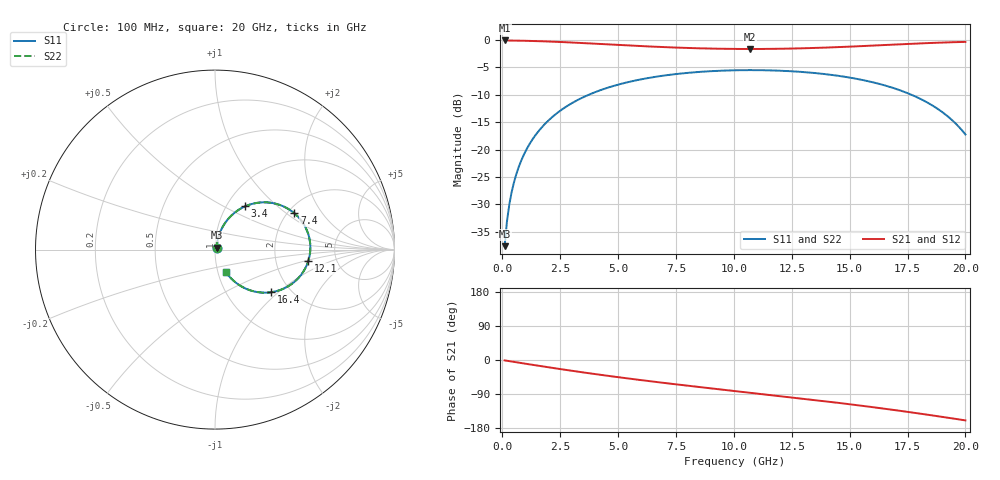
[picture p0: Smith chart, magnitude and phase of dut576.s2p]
! Touchstone file exported from HFSS 2026.1.0
!  File:  C:/ffzhzh/LocalFiles/Ansys_Project_Files/temp_train_TSV_RDL_576_1783118342_53076.aedt
!  Generated:  06:47:32 AM Jul  4, 2026
!  Design:  TSV_RDL
!  Project:  temp_train_TSV_RDL_576_1783118342_53076
! Variables:
!  h_bsmrdl = 5.04um
!  h_ox = 20um
!  h_rdl = 5um
!  h_sub = 76.14um
!  h_tmrdl = 5.03um
!  h_tsv = 76.14um
!  h_via = 3um
!  l_bsmrdl = 272.88um
!  l_sub = 2692.94um
!  l_tmrdl = 336.4um
!  m_sub = 200um
!  pitch = 59.38um
!  r_tsv = 12.11um
!  s_tmrdl = 10um
!  w_bsmrdl = 21.07um
!  w_sub = 500um
!  w_tmrdl = 21.83um
!  x_tsv_center1 = 347.315um
!  x_tsv_center2 = 641.265um
!  x_tsv_center3 = 999.495um
!  x_tsv_center4 = 1293.445um
!  x_tsv_center5 = 1651.675um
!  x_tsv_center6 = 1945.625um
# GHz S MA R 50.000000
! Terminal data exported
! Port[1] = TM_RDL1_1_T1
! Port[2] = TM_RDL5_1_T1
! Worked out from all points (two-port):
!   200 points, 100 MHz to 20 GHz, reference 50 ohm
!   highest |S21| = -0.07 dB at 100 MHz (marker M1); lowest = -1.6 dB at 10.7 GHz (marker M2)
!   |S21| within 3 dB of the highest: start of sweep to end of sweep
!   lowest |S11| = -37.7 dB at 100 MHz (marker M3), VSWR 1.03, Z = 50.8 + j1.02 ohm
!   |S11| at or under -10 dB: start of sweep to 3.729 GHz; 17.67 GHz to end of sweep
!   |S22| runs from -37.7 to -5.5 dB; largest |S21 - S12| = 5.7e-14
!   S11 on the Smith chart (normalised r, x): 100 MHz: 1.02, +0.02; 3.4 GHz: 1.22, +0.64; 7.4 GHz: 2.17, +1.15; 12.1 GHz: 3.10, -0.54; 16.4 GHz: 1.59, -0.90; 20 GHz: 1.09, -0.28
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0.1  0.01311 50.1  0.9917 -1.0  0.9917 -1.0  0.01311 50.1
! Gamma 0 0 0 0
! Port Impedance 50 0 50 0
0.2  0.02193 64.8  0.9912 -2.0  0.9912 -2.0  0.02193 64.8
0.3  0.0312 70.1  0.9905 -3.0  0.9905 -3.0  0.0312 70.1
0.4  0.0405 72.5  0.9898 -4.0  0.9898 -4.0  0.0405 72.5
0.7  0.06835 74.5  0.9875 -6.9  0.9875 -6.9  0.06835 74.6
1  0.09607 73.8  0.9847 -9.8  0.9847 -9.8  0.09607 73.8
1.4  0.1324 71.4  0.9798 -13.6  0.9798 -13.6  0.1324 71.4
2  0.1849 66.8  0.9703 -19.3  0.9703 -19.3  0.1849 66.8
3.4  0.2938 55.1  0.9407 -31.9  0.9407 -31.9  0.2938 55.1
3.5  0.3007 54.3  0.9384 -32.8  0.9384 -32.8  0.3007 54.3
5.1  0.3966 41.4  0.9006 -46.1  0.9006 -46.1  0.3966 41.4
6.8  0.4681 28.8  0.8654 -59.1  0.8654 -59.1  0.4681 28.8
7.4  0.4865 24.6  0.8553 -63.5  0.8553 -63.5  0.4865 24.6
10.1  0.53 6.3  0.8298 -82.3  0.8298 -82.3  0.53 6.3
10.7  0.5315 2.4  0.8288 -86.3  0.8288 -86.3  0.5315 2.4
12.1  0.5238 -6.9  0.8334 -95.9  0.8334 -95.9  0.5238 -6.9
13.4  0.5021 -15.7  0.8459 -105.0  0.8459 -105.0  0.5021 -15.7
16.4  0.3916 -37.4  0.8982 -127.7  0.8982 -127.7  0.3916 -37.4
16.7  0.3755 -39.7  0.9045 -130.1  0.9045 -130.1  0.3755 -39.7
18.6  0.2508 -54.5  0.9425 -146.5  0.9425 -146.5  0.2508 -54.5
19.4  0.1878 -60.5  0.9552 -153.8  0.9552 -153.8  0.1878 -60.4
20  0.1373 -64.2  0.9624 -159.3  0.9624 -159.3  0.1374 -64.1
